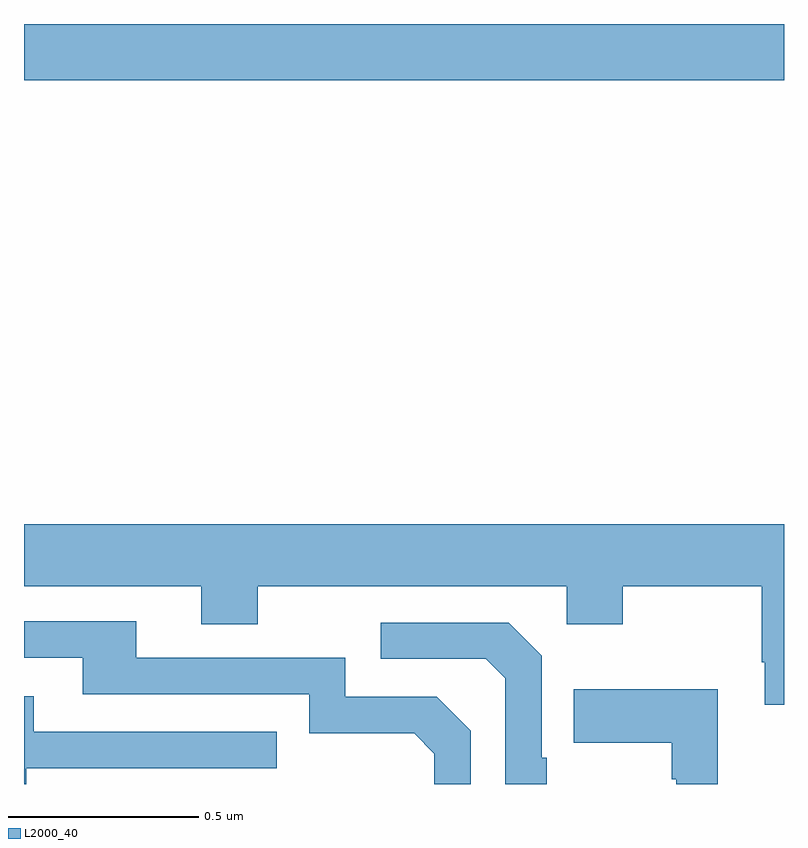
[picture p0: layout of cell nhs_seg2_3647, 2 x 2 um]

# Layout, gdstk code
import gdstk
lib = gdstk.Library(unit=1e-6, precision=1e-09)
def R(c, l, rs):  # rectangles x0, y0, x1, y1
    for r in rs: c.add(gdstk.rectangle(r[:2], r[2:], *l))
def P(c, l, *ps):  # polygons
    for p in ps: c.add(gdstk.Polygon(p, *l))
L2000_40 = (2000, 40)

nhs_seg2_3647 = lib.new_cell('nhs_seg2_3647')
R(nhs_seg2_3647, L2000_40, [(156,631.652,158,631.8)])
P(nhs_seg2_3647, L2000_40, [(158,630.484),(156,630.484),(156,630.32),(156.467,630.32),(156.467,630.221),(156.615,630.221),(156.615,630.32),(157.428,630.32),(157.428,630.221),(157.575,630.221),(157.575,630.32),(157.942,630.32),(157.942,630.121),(157.949,630.121),(157.949,630.009),(158,630.009)],
  [(157.176,629.94),(157.086,630.03),(156.846,630.03),(156.846,630.132),(156.295,630.132),(156.295,630.228),(156,630.228),(156,630.132),(156.155,630.132),(156.155,630.036),(156.75,630.036),(156.75,629.933),(157.027,629.933),(157.08,629.88),(157.08,629.8),(157.176,629.8)],
  [(157.375,629.869),(157.362,629.869),(157.362,630.138),(157.275,630.225),(156.939,630.225),(156.939,630.129),(157.215,630.129),(157.266,630.078),(157.266,629.8),(157.375,629.8)],
  [(157.825,630.049),(157.447,630.049),(157.447,629.909),(157.704,629.909),(157.704,629.813),(157.716,629.813),(157.716,629.8),(157.825,629.8)],
  [(156.006,629.841),(156.665,629.841),(156.665,629.937),(156.025,629.937),(156.025,630.031),(156,630.031),(156,629.8),(156.006,629.8)])

lib.write_gds('nhs_seg2_3647.gds')
